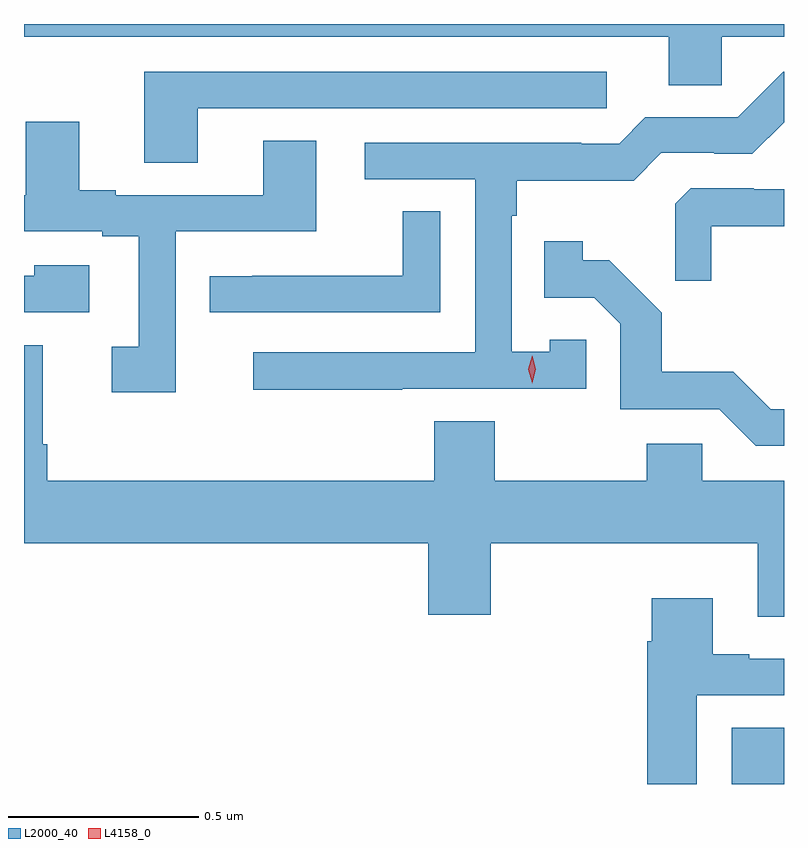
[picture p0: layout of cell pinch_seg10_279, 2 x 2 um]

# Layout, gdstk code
import gdstk
lib = gdstk.Library(unit=1e-6, precision=1e-09)
def R(c, l, rs):  # rectangles x0, y0, x1, y1
    for r in rs: c.add(gdstk.rectangle(r[:2], r[2:], *l))
def P(c, l, *ps):  # polygons
    for p in ps: c.add(gdstk.Polygon(p, *l))
L2000_40 = (2000, 40)
L4158_0 = (4158, 0)

pinch_seg10_279 = lib.new_cell('pinch_seg10_279')
R(pinch_seg10_279, L2000_40, [(525.446,1316.998,525.584,1317.146)])
P(pinch_seg10_279, L2000_40, [(525.42,1318.964),(525.584,1318.964),(525.584,1318.998),(523.584,1318.998),(523.584,1318.964),(525.281,1318.964),(525.281,1318.837),(525.42,1318.837)],
  [(524.579,1318.038),(525.063,1318.038),(525.063,1318.167),(524.967,1318.167),(524.967,1318.135),(524.868,1318.135),(524.868,1318.493),(524.881,1318.493),(524.881,1318.586),(525.188,1318.586),(525.261,1318.659),(525.4,1318.659),(525.4,1318.656),(525.501,1318.656),(525.584,1318.739),(525.584,1318.872),(525.582,1318.872),(525.462,1318.752),(525.219,1318.752),(525.15,1318.683),(525.05,1318.683),(525.05,1318.686),(524.481,1318.686),(524.481,1318.59),(524.772,1318.59),(524.772,1318.134),(524.187,1318.134),(524.187,1318.036),(524.579,1318.036)],
  [(524.041,1318.776),(525.118,1318.776),(525.118,1318.872),(523.901,1318.872),(523.901,1318.633),(524.041,1318.633)],
  [(523.983,1318.452),(524.353,1318.452),(524.353,1318.691),(524.213,1318.691),(524.213,1318.548),(523.825,1318.548),(523.825,1318.561),(523.729,1318.561),(523.729,1318.741),(523.589,1318.741),(523.589,1318.548),(523.584,1318.548),(523.584,1318.452),(523.79,1318.452),(523.79,1318.44),(523.886,1318.44),(523.886,1318.149),(523.815,1318.149),(523.815,1318.029),(523.983,1318.029)],
  [(525.392,1318.466),(525.584,1318.466),(525.584,1318.563),(525.504,1318.563),(525.504,1318.566),(525.339,1318.566),(525.298,1318.525),(525.298,1318.323),(525.392,1318.323)],
  [(524.679,1318.505),(524.581,1318.505),(524.581,1318.335),(524.185,1318.335),(524.185,1318.334),(524.073,1318.334),(524.073,1318.239),(524.679,1318.239)],
  [(525.584,1317.984),(525.549,1317.984),(525.451,1318.083),(525.262,1318.083),(525.262,1318.238),(525.124,1318.376),(525.054,1318.376),(525.054,1318.426),(524.953,1318.426),(524.953,1318.278),(525.084,1318.278),(525.153,1318.209),(525.153,1317.984),(525.414,1317.984),(525.51,1317.888),(525.584,1317.888)],
  [(523.756,1318.363),(523.611,1318.363),(523.611,1318.335),(523.584,1318.335),(523.584,1318.239),(523.756,1318.239)],
  [(525.584,1317.796),(525.369,1317.796),(525.369,1317.894),(525.223,1317.894),(525.223,1317.796),(524.823,1317.796),(524.823,1317.953),(524.663,1317.953),(524.663,1317.796),(523.645,1317.796),(523.645,1317.892),(523.633,1317.892),(523.633,1318.153),(523.584,1318.153),(523.584,1317.632),(524.648,1317.632),(524.648,1317.444),(524.812,1317.444),(524.812,1317.632),(525.515,1317.632),(525.515,1317.438),(525.584,1317.438)],
  [(525.355,1317.231),(525.584,1317.231),(525.584,1317.327),(525.493,1317.327),(525.493,1317.34),(525.397,1317.34),(525.397,1317.487),(525.236,1317.487),(525.236,1317.374),(525.224,1317.374),(525.224,1316.998),(525.355,1316.998)])
P(pinch_seg10_279, L4158_0, [(524.921,1318.053),(524.921,1318.054),(524.911,1318.089),(524.921,1318.125),(524.921,1318.125),(524.921,1318.125),(524.931,1318.089),(524.921,1318.054)])

lib.write_gds('pinch_seg10_279.gds')
